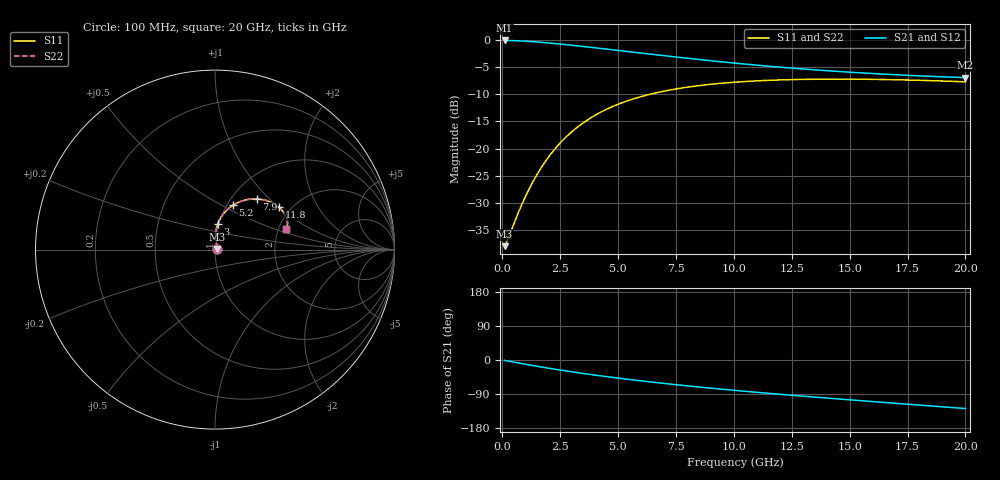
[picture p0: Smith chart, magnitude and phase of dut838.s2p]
! Touchstone file exported from HFSS 2024.1.0
!  File:  C:/UserFiles/LocalFiles/RDL_TSV_Batchsim/temp_RDL_TSV_838_1779919326.aedt
!  Generated:  06:22:19 AM May 28, 2026
!  Design:  RDL_TSV
!  Project:  temp_RDL_TSV_838_1779919326
!  Setup:  Setup1
!  Solution:  Sweep
! Variables:
!  dtsv = 5.71um
!  hbump = 3um
!  htsv = 79.31um
!  ldown = 265.08um
!  lrdl = 182.82um
!  p = 40
!  p1 = 59.27um
!  rhole = 10um
!  subl = 1526.52um
!  t = 450um
!  tdown = 4.01um
!  trdl = 3um
!  viad = 10um
!  wdown = 23.38um
!  wrdl = 11.77um
!  xbump = 18um
# GHz S MA R 50.000000
! Terminal data exported
! Port[1] = TM1_1_T1
! Port[2] = TM1_4_T1
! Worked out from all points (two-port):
!   200 points, 100 MHz to 20 GHz, reference 50 ohm
!   highest |S21| = -0.11 dB at 100 MHz (marker M1); lowest = -6.9 dB at 20 GHz (marker M2)
!   |S21| within 3 dB of the highest: start of sweep to 7.408 GHz
!   lowest |S11| = -37.9 dB at 100 MHz (marker M3), VSWR 1.03, Z = 51.2 + j0.359 ohm
!   |S11| at or under -10 dB: start of sweep to 6.379 GHz
!   |S22| runs from -37.9 to -7.2 dB; largest |S21 - S12| = 9e-15
!   S11 on the Smith chart (normalised r, x): 100 MHz: 1.02, +0.01; 3 GHz: 0.99, +0.29; 5.2 GHz: 1.07, +0.56; 7.9 GHz: 1.29, +0.84; 11.8 GHz: 1.74, +1.00; 20 GHz: 2.19, +0.61
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0.1  0.01271 16.0  0.9876 -1.2  0.9876 -1.2  0.01271 16.0
! Gamma 0 0 0 0
! Port Impedance 50 0 50 0
0.2  0.01407 29.4  0.9869 -2.3  0.9869 -2.3  0.01407 29.4
0.6  0.02316 61.2  0.9816 -6.8  0.9816 -6.8  0.02316 61.3
0.9  0.03266 73.7  0.9751 -10.1  0.9751 -10.1  0.03266 73.7
1.2  0.04431 81.0  0.9668 -13.4  0.9668 -13.4  0.04431 81.0
1.5  0.0579 85.1  0.9567 -16.6  0.9567 -16.6  0.05791 85.1
1.8  0.07311 86.9  0.9454 -19.7  0.9454 -19.7  0.07313 87.0
2.2  0.09528 87.3  0.9288 -23.6  0.9288 -23.6  0.09531 87.3
2.6  0.1188 86.1  0.911 -27.5  0.911 -27.5  0.1189 86.1
3  0.143 84.0  0.8927 -31.2  0.8927 -31.2  0.143 84.0
3.5  0.1731 80.7  0.8692 -35.6  0.8692 -35.6  0.1732 80.7
4.3  0.2191 74.8  0.8318 -42.2  0.8318 -42.2  0.2193 74.8
5.2  0.2656 68.1  0.7908 -49.3  0.7908 -49.3  0.2657 68.1
6  0.3012 62.4  0.7559 -55.1  0.7559 -55.1  0.3014 62.4
6.8  0.3315 57.2  0.7228 -60.6  0.7228 -60.6  0.3318 57.2
7.9  0.3651 50.7  0.6809 -67.7  0.6809 -67.7  0.3654 50.7
9  0.3905 45.0  0.6432 -74.3  0.6432 -74.3  0.3908 45.0
10.1  0.4091 40.0  0.6097 -80.6  0.6097 -80.6  0.4094 40.0
11.8  0.4271 33.4  0.5656 -89.5  0.5656 -89.5  0.4274 33.5
13.4  0.4348 28.4  0.5319 -97.5  0.5319 -97.5  0.4352 28.4
16.7  0.4314 20.7  0.4814 -113.0  0.4814 -113.0  0.4318 20.7
20  0.4117 16.2  0.4496 -128.1  0.4496 -128.1  0.4121 16.2
